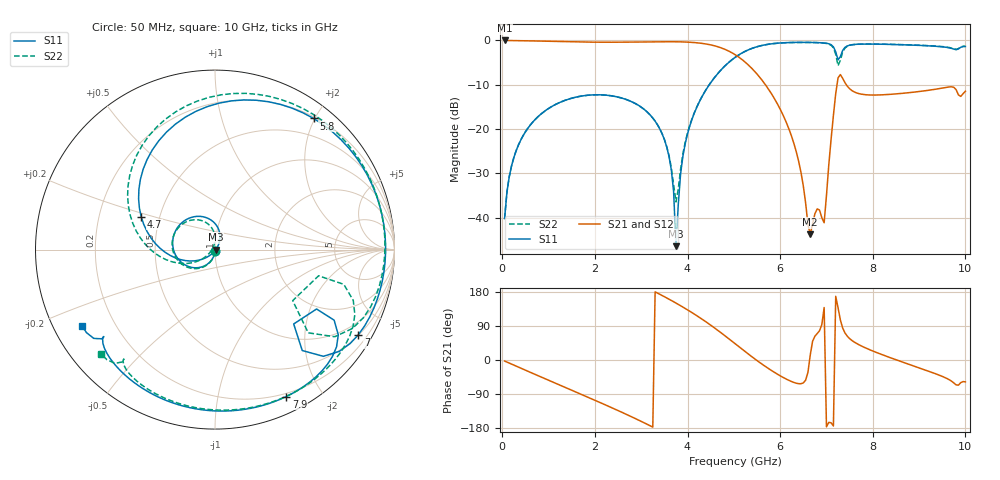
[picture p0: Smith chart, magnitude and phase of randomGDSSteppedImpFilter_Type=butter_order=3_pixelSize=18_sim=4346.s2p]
! freq	dB(S11)	phase(S11)	dB(S12)	phase(S12)
!  dB(S21)	phase(S21)	dB(S22)	phase(S22)
!S-par simulation data
#  GHz  S  DB  R 50
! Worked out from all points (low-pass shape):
!   200 points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, 50 MHz to 10 GHz, reference 50 ohm
!   highest |S21| = 0.00 dB at 50 MHz (marker M1); lowest = -43.8 dB at 6.65 GHz (marker M2)
!   |S21| within 3 dB of the highest: start of sweep to 4.995 GHz
!   lowest |S11| = -46.5 dB at 3.75 GHz (marker M3), VSWR 1.01, Z = 50.5 + j0.0499 ohm
!   |S11| at or under -10 dB: start of sweep to 4.471 GHz
!   |S22| runs from -40.2 to -0.4 dB; largest |S21 - S12| = 0
!   S11 on the Smith chart (normalised r, x): 50 MHz: 1.00, -0.02; 4.7 GHz: 0.39, +0.18; 5.8 GHz: 0.22, +1.98; 7 GHz: 0.52, -3.57; 7.9 GHz: 0.17, -1.58; 10 GHz: 0.08, -0.26
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0.05  -40.24 -92.2  -0.00 -2.7  -0.00 -2.7  -40.21 -91.7
0.2  -28.34 -101.0  -0.02 -10.8  -0.02 -10.8  -28.33 -100.5
0.5  -20.64 -118.1  -0.07 -26.9  -0.07 -26.9  -20.64 -116.7
1.75  -12.50 173.5  -0.36 -93.0  -0.36 -93.0  -12.51 179.0
3.4  -19.96 75.5  -0.30 173.5  -0.30 173.5  -19.95 94.1
3.65  -29.24 54.7  -0.29 157.1  -0.29 157.1  -28.76 93.9
3.75  -46.48 6.0  -0.30 150.3  -0.30 150.3  -36.48 144.9
3.85  -30.14 -127.2  -0.32 143.2  -0.32 143.2  -29.04 -148.9
4  -21.10 -142.7  -0.38 132.3  -0.38 132.3  -20.88 -143.9
4.7  -6.93 155.9  -1.58 74.0  -1.58 74.0  -6.91 166.6
5.05  -3.66 122.1  -3.36 40.9  -3.36 40.9  -3.65 134.4
5.8  -0.78 53.1  -11.84 -26.7  -11.84 -26.7  -0.79 66.3
6.35  -0.44 12.1  -25.22 -61.3  -25.22 -61.3  -0.45 24.8
6.65  -0.45 -7.5  -43.78 13.2  -43.78 13.2  -0.46 4.6
6.7  -0.46 -10.6  -41.50 49.3  -41.50 49.3  -0.47 1.3
6.95  -0.58 -27.1  -41.18 138.5  -41.18 138.5  -0.61 -16.2
7  -0.64 -30.7  -35.04 -176.4  -35.04 -176.4  -0.69 -20.2
7.25  -4.39 -43.4  -8.46 138.1  -8.46 138.1  -5.71 -33.3
7.4  -1.57 -34.7  -9.55 71.3  -9.55 71.3  -1.72 -20.2
7.9  -0.82 -64.1  -12.31 28.9  -12.31 28.9  -0.81 -52.5
8.35  -0.89 -84.3  -12.20 7.4  -12.20 7.4  -0.87 -73.3
10  -1.37 -150.3  -11.47 -57.7  -11.47 -57.7  -1.29 -137.4
